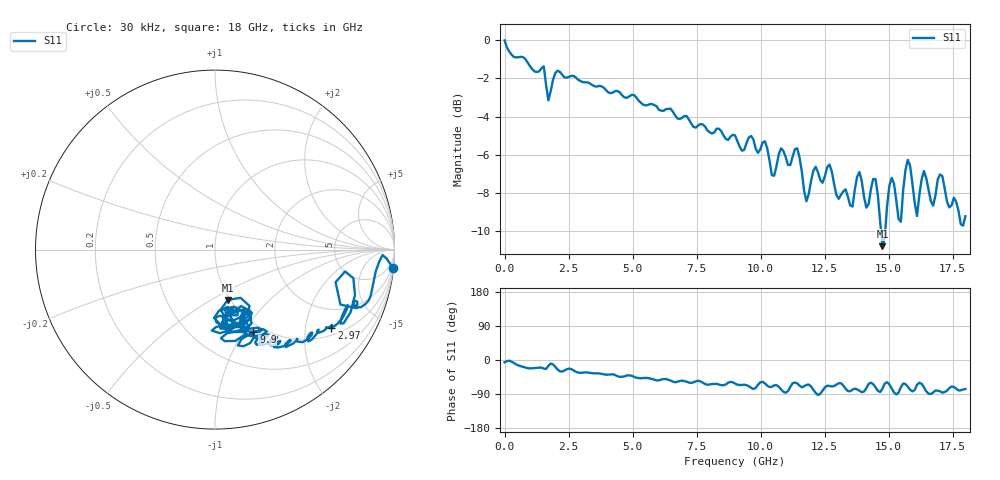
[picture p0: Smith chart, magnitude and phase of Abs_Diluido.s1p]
!Keysight Technologies N9917A: A.12.46
!Date: Thursday, 16 November 2023 19:13:08
!TimeZone: (UTC-03:00) Buenos Aires!Model: N9917A
!Serial: MY56072049
!GPS Latitude:
!GPS Longitude:
!GPS TimeStamp: 0001-01-01 00:00:00Z
!GPS Seconds Since Last Read: 0
!CHECKSUM:1372796828
!Correction: S11(Rdy)
!S1P File: Measurement: S11:
# Hz S RI R 50
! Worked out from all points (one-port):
!   201 points, 30 kHz to 18 GHz, reference 50 ohm
!   lowest |S11| = -10.8 dB at 14.76 GHz (marker M1), VSWR 1.81, Z = 48.7 - j29.8 ohm
!   |S11| at or under -10 dB: 14.71 GHz to 14.87 GHz (162.3 MHz wide, 1.1 % of centre)
!   S11 on the Smith chart (normalised r, x): 30 kHz: 0, -19; 2.97 GHz: 1.24, -2.78; 9.9 GHz: 0.90, -1.11; 18 GHz: 0.92, -0.70
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30000  0.9927 -0.1045
1.800297e8  0.9336 -0.0304
9.900284e8  0.7926 -0.3224
1.620027e9  0.699 -0.3063
1.800027e9  0.7248 -0.1216
2.250026e9  0.6995 -0.4123
2.520026e9  0.7397 -0.3096
2.970025e9  0.6484 -0.4359
4.500022e9  0.5211 -0.5116
6.750019e9  0.3372 -0.525
9.000015e9  0.2651 -0.4974
9.900014e9  0.2143 -0.4597
1.008001e10  0.2889 -0.4562
1.098001e10  0.0331 -0.4933
1.125001e10  0.2372 -0.4348
1.224001e10  -0.0177 -0.4513
1.260001e10  0.1747 -0.431
1.350001e10  0.0488 -0.3663
1.449001e10  0.1322 -0.4123
1.476001e10  0.0712 -0.2802
1.503e10  0.1806 -0.3749
1.53e10  -0.00552 -0.381
1.548e10  0.105 -0.318
1.575e10  0.1636 -0.4581
1.593e10  0.053 -0.4181
1.629e10  0.1976 -0.3844
1.665e10  0.00122 -0.3794
1.8e10  0.0812 -0.3366
